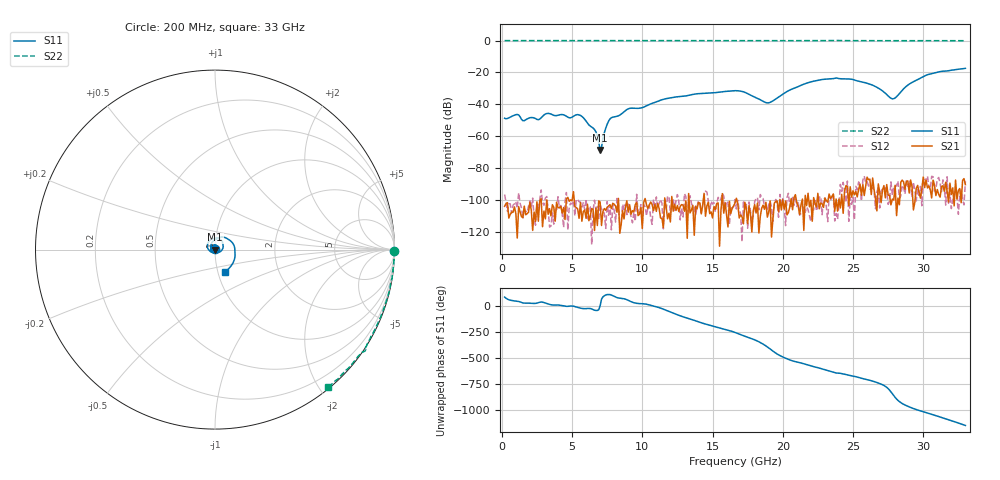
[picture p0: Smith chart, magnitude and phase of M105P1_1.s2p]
# GHZ S RI R 50
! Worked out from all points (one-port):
!   329 points, 200 MHz to 33 GHz, reference 50 ohm
!   lowest |S11| = -68.6 dB at 7 GHz (marker M1), VSWR 1.00, Z = 50 + j8.2e-05 ohm
!   |S11| at or under -10 dB: start of sweep to end of sweep
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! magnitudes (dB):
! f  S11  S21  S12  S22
! 200 MHz  -48.7  -103.9  -96.5  0.0
! 1.1 GHz  -46.3  -123.8  -105.2  0.0
! 1.5 GHz  -50.2  -111.0  -111.6  0.0
! 2.6 GHz  -49.6  -113.3  -106.2  0.0
! 3.3 GHz  -45.6  -108.9  -106.0  0.0
! 5.7 GHz  -47.5  -113.2  -104.4  0.0
! 6.7 GHz  -57.2  -105.0  -105.5  0.0
! 7 GHz  -68.6  -101.2  -102.6  0.0
! 7.4 GHz  -54.9  -106.4  -117.8  0.0
! 7.8 GHz  -48.4  -105.3  -118.7  0.0
! 9 GHz  -42.8  -107.6  -102.0  0.0
! 11.2 GHz  -37.8  -105.3  -102.0  0.0
! 16.6 GHz  -31.4  -101.9  -99.7  0.0
! 19 GHz  -39.0  -107.6  -102.6  0.0
! 22.1 GHz  -25.7  -113.2  -106.2  0.0
! 25 GHz  -24.4  -94.2  -98.3  0.0
! 26.6 GHz  -28.8  -99.0  -105.5  0.0
! 27.6 GHz  -35.5  -97.1  -100.6  0.0
! 28 GHz  -35.9  -90.7  -91.7  0.0
! 28.9 GHz  -27.9  -87.9  -91.4  -0.1
! 30.2 GHz  -21.7  -87.5  -88.0  -0.1
! 33 GHz  -17.4  -90.3  -88.3  -0.1
